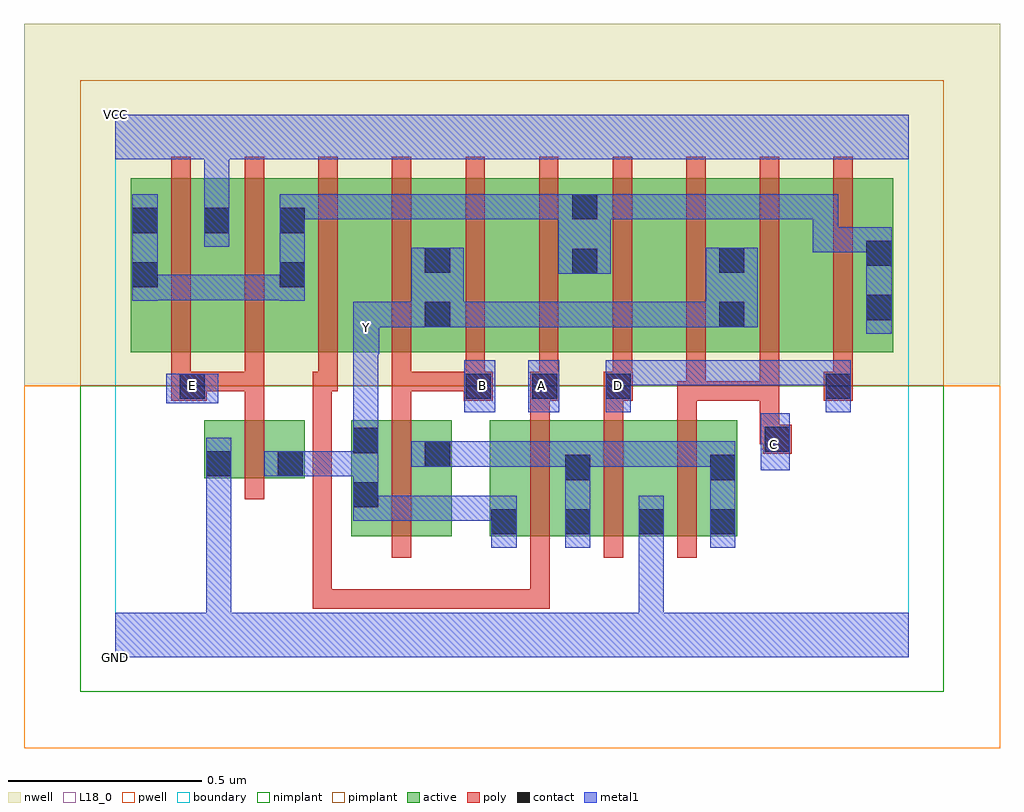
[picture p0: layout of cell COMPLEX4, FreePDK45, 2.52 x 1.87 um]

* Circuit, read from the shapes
.subckt COMPLEX4 A B C D E GND VCC Y
M1 Y E GND VSUBS nfet w=0.15u l=0.05u
M2 n1 B Y VSUBS nfet w=0.3u l=0.05u
M3 n1 A Y VSUBS nfet w=0.3u l=0.05u
M4 GND D n1 VSUBS nfet w=0.3u l=0.05u
M5 n1 C GND VSUBS nfet w=0.3u l=0.05u
M6 VCC E n2 n3 pfet w=0.45u l=0.05u m=2
M7 n4 A n2 n3 pfet w=0.45u l=0.05u
M8 Y B n4 n3 pfet w=0.45u l=0.05u
M9 n5 B Y n3 pfet w=0.45u l=0.05u
M10 n2 A n5 n3 pfet w=0.45u l=0.05u
M11 n6 D n2 n3 pfet w=0.45u l=0.05u
M12 Y C n6 n3 pfet w=0.45u l=0.05u
M13 n7 C Y n3 pfet w=0.45u l=0.05u
M14 n2 D n7 n3 pfet w=0.45u l=0.05u
.ends

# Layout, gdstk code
import gdstk
lib = gdstk.Library(unit=1e-6, precision=1e-09)
def R(c, l, rs):  # rectangles x0, y0, x1, y1
    for r in rs: c.add(gdstk.rectangle(r[:2], r[2:], *l))
def A(c, l, x, y, w, h, nx, ny, dx, dy):  # array of equal rectangles
    R(c, l, [(x+i*dx, y+j*dy, x+i*dx+w, y+j*dy+h) for i in range(nx) for j in range(ny)])
active = (1, 0)
pwell = (2, 0)
nwell = (3, 0)
nimplant = (4, 0)
pimplant = (5, 0)
poly = (9, 0)
contact = (10, 0)
metal1 = (11, 0)
L18_0 = (18, 0)
boundary = (235, 0)

complex4 = lib.new_cell('COMPLEX4')
A(complex4, active, 0.645, 0.787, 0.225, 0.45, 4, 1, 0.38, 0)
A(complex4, active, 0.795, 0.787, 0.23, 0.45, 3, 1, 0.38, 0)
R(complex4, active, [(0.61,0.312,0.685,0.612), (0.61,0.312,0.87,0.612), (0.967,0.312,1.042,0.612), (0.967,0.312,1.232,0.612), (1.157,0.312,1.422,0.612), (1.157,0.312,1.232,0.527), (1.347,0.312,1.607,0.612), (1.347,0.312,1.422,0.392), (1.532,0.312,1.607,0.612), (0.795,0.345,0.87,0.612), (0.23,0.462,0.305,0.612), (0.23,0.462,0.49,0.612), (0.415,0.462,0.49,0.612), (0.04,0.787,0.115,1.2), (0.04,0.787,0.3,1.237), (0.225,0.787,0.495,1.237), (0.42,0.787,0.645,1.237), (0.795,0.787,0.87,1.07), (1.555,0.787,1.63,1.07), (1.935,0.787,2.01,1.2), (0.225,0.857,0.3,1.205), (0.42,0.857,0.495,1.2), (1.175,0.857,1.25,1.2)])
R(complex4, pwell, [(-0.235,-0.235,2.285,0.7)])
R(complex4, nwell, [(-0.235,0.7,2.285,1.635)])
R(complex4, nimplant, [(-0.09,-0.09,2.14,0.7)])
R(complex4, pimplant, [(-0.09,0.7,2.14,1.49)])
A(complex4, poly, 1.072, 0.257, 0.05, 0.41, 3, 1, 0.19, 0)
A(complex4, poly, 1.072, 0.617, 0.05, 0.095, 3, 1, 0.19, 0)
A(complex4, poly, 0.145, 0.687, 0.05, 0.095, 7, 1, 0.19, 0)
A(complex4, poly, 0.145, 0.732, 0.05, 0.56, 10, 1, 0.19, 0)
R(complex4, poly, [(0.51,0.125,0.56,0.175), (0.51,0.125,0.765,0.175), (0.51,0.125,0.56,0.737), (0.715,0.125,0.765,0.175), (0.715,0.125,0.765,0.175), (0.715,0.125,0.765,0.175), (0.715,0.125,0.897,0.175), (0.847,0.125,0.897,0.175), (0.847,0.125,0.897,0.175), (0.847,0.125,0.897,0.175), (0.847,0.125,1.122,0.175), (1.072,0.125,1.122,0.175), (1.072,0.125,1.122,0.175), (1.072,0.125,1.122,0.175), (1.072,0.125,1.122,0.307), (0.715,0.257,0.765,0.667), (0.335,0.407,0.385,0.667), (1.672,0.525,1.747,0.6), (1.665,0.55,1.715,0.712), (1.665,0.55,1.722,0.6), (1.672,0.55,1.722,0.6), (0.335,0.617,0.385,0.737), (0.715,0.617,0.765,0.737), (0.145,0.662,0.237,0.737), (0.9,0.662,0.975,0.737), (1.072,0.662,1.147,0.737), (1.262,0.662,1.337,0.737), (1.452,0.662,1.525,0.712), (1.475,0.662,1.525,0.782), (1.475,0.662,1.715,0.712), (1.665,0.662,1.715,0.782), (1.665,0.662,1.715,0.712), (1.665,0.662,1.715,0.712), (1.665,0.662,1.715,0.712), (1.83,0.662,1.905,0.737), (0.187,0.687,0.385,0.737), (0.335,0.687,0.385,0.737), (0.335,0.687,0.385,0.737), (0.335,0.687,0.385,0.737), (0.51,0.687,0.56,0.737), (0.51,0.687,0.56,0.737), (0.51,0.687,0.56,0.737), (0.51,0.687,0.56,0.737), (0.51,0.687,0.56,0.737), (0.51,0.687,0.56,0.737), (0.51,0.687,0.575,0.737), (0.715,0.687,0.765,0.737), (0.715,0.687,0.95,0.737), (0.9,0.687,0.95,0.737), (0.9,0.687,0.95,0.737), (1.855,0.687,1.905,0.782)])
A(complex4, contact, 0.972, 0.317, 0.065, 0.065, 3, 1, 0.19, 0)
R(complex4, contact, [(1.537,0.317,1.602,0.382), (0.615,0.387,0.68,0.452), (1.162,0.457,1.227,0.522), (1.537,0.457,1.602,0.522), (0.235,0.467,0.3,0.532), (0.42,0.467,0.485,0.532), (0.8,0.492,0.865,0.557), (0.615,0.527,0.68,0.592), (1.677,0.53,1.742,0.595), (0.167,0.667,0.232,0.732), (0.905,0.667,0.97,0.732), (1.077,0.667,1.142,0.732), (1.267,0.667,1.332,0.732), (1.835,0.667,1.9,0.732), (0.8,0.852,0.865,0.917), (1.56,0.852,1.625,0.917), (1.94,0.87,2.005,0.935), (0.045,0.955,0.11,1.02), (0.425,0.955,0.49,1.02), (1.18,0.99,1.245,1.055), (0.8,0.992,0.865,1.057), (1.56,0.992,1.625,1.057), (1.94,1.01,2.005,1.075), (0.045,1.095,0.11,1.16), (0.23,1.095,0.295,1.16), (0.425,1.095,0.49,1.16), (1.18,1.13,1.245,1.195)])
R(complex4, metal1, [(0,0,2.05,0.115), (0.235,0.05,0.3,0.115), (0.235,0.05,0.3,0.115), (0.235,0.05,0.3,0.115), (0.235,0.05,0.3,0.115), (0.235,0.05,0.3,0.115), (0.235,0.05,0.3,0.115), (0.235,0.05,0.3,0.497), (1.352,0.05,1.417,0.115), (1.352,0.05,1.417,0.115), (1.352,0.05,1.417,0.115), (1.352,0.05,1.417,0.115), (1.352,0.05,1.417,0.347), (0.972,0.282,1.037,0.417), (1.162,0.282,1.227,0.557), (1.352,0.282,1.417,0.417), (1.537,0.282,1.602,0.557), (0.615,0.352,0.68,0.627), (0.615,0.352,0.68,0.417), (0.615,0.352,0.68,0.417), (0.615,0.352,0.83,0.417), (0.765,0.352,0.83,0.417), (0.765,0.352,0.83,0.417), (0.765,0.352,0.83,0.417), (0.765,0.352,0.967,0.417), (0.902,0.352,0.967,0.417), (0.902,0.352,1.037,0.417), (0.235,0.432,0.3,0.567), (0.385,0.467,0.52,0.532), (0.455,0.467,0.68,0.532), (0.615,0.467,0.68,0.532), (0.615,0.467,0.68,0.532), (1.667,0.482,1.742,0.63), (0.765,0.492,0.9,0.557), (0.835,0.492,0.995,0.557), (0.93,0.492,0.995,0.557), (0.93,0.492,1.057,0.557), (0.992,0.492,1.057,0.557), (0.992,0.492,1.132,0.557), (1.067,0.492,1.132,0.557), (1.067,0.492,1.227,0.557), (1.162,0.492,1.417,0.557), (1.352,0.492,1.555,0.557), (1.352,0.492,1.417,0.557), (1.352,0.492,1.417,0.557), (1.352,0.492,1.417,0.557), (1.49,0.492,1.555,0.557), (1.49,0.492,1.602,0.557), (0.615,0.562,0.68,0.847), (0.902,0.632,0.982,0.767), (1.067,0.632,1.147,0.767), (1.267,0.632,1.332,0.767), (1.835,0.632,1.9,0.767), (0.132,0.655,0.267,0.732), (1.267,0.702,1.417,0.767), (1.352,0.702,1.555,0.767), (1.352,0.702,1.417,0.767), (1.49,0.702,1.555,0.767), (1.49,0.702,1.555,0.767), (1.49,0.702,1.555,0.767), (1.49,0.702,1.73,0.767), (1.665,0.702,1.73,0.767), (1.665,0.702,1.73,0.767), (1.665,0.702,1.73,0.767), (1.665,0.702,1.9,0.767), (0.615,0.782,0.682,0.917), (1.94,0.835,2.005,1.11), (0.617,0.852,0.83,0.917), (0.765,0.852,0.83,0.917), (0.765,0.852,0.83,0.917), (0.765,0.852,0.83,0.917), (0.765,0.852,0.83,0.917), (0.765,0.852,0.9,1.057), (0.835,0.852,0.995,0.917), (0.93,0.852,0.995,0.917), (0.93,0.852,1.057,0.917), (0.992,0.852,1.195,0.917), (0.992,0.852,1.057,0.917), (1.13,0.852,1.195,0.917), (1.13,0.852,1.195,0.917), (1.13,0.852,1.195,0.917), (1.13,0.852,1.417,0.917), (1.352,0.852,1.417,0.917), (1.352,0.852,1.417,0.917), (1.352,0.852,1.417,0.917), (1.352,0.852,1.59,0.917), (1.525,0.852,1.59,0.917), (1.525,0.852,1.59,0.917), (1.525,0.852,1.66,1.057), (0.045,0.92,0.11,1.195), (0.425,0.92,0.49,1.195), (0.045,0.922,0.11,0.987), (0.045,0.922,0.11,0.987), (0.045,0.922,0.312,0.987), (0.247,0.922,0.312,0.987), (0.247,0.922,0.49,0.987), (0.425,0.922,0.49,0.987), (0.425,0.922,0.49,0.987), (1.145,0.99,1.28,1.195), (1.802,1.045,2.005,1.11), (1.802,1.045,1.867,1.11), (1.802,1.045,1.867,1.11), (1.802,1.045,1.867,1.11), (1.802,1.045,1.867,1.195), (0.23,1.06,0.295,1.195), (0.23,1.13,0.295,1.35), (0.425,1.13,0.692,1.195), (0.627,1.13,0.83,1.195), (0.627,1.13,0.692,1.195), (0.627,1.13,0.692,1.195), (0.627,1.13,0.692,1.195), (0.627,1.13,0.692,1.195), (0.627,1.13,0.692,1.195), (0.765,1.13,0.83,1.195), (0.765,1.13,0.83,1.195), (0.765,1.13,0.83,1.195), (0.765,1.13,0.995,1.195), (0.93,1.13,0.995,1.195), (0.93,1.13,1.037,1.195), (0.972,1.13,1.037,1.195), (0.972,1.13,1.132,1.195), (1.067,1.13,1.132,1.195), (1.067,1.13,1.21,1.195), (1.215,1.13,1.417,1.195), (1.352,1.13,1.417,1.195), (1.352,1.13,1.417,1.195), (1.352,1.13,1.417,1.195), (1.352,1.13,1.592,1.195), (1.527,1.13,1.73,1.195), (1.527,1.13,1.592,1.195), (1.527,1.13,1.592,1.195), (1.527,1.13,1.592,1.195), (1.665,1.13,1.73,1.195), (1.665,1.13,1.867,1.195), (1.802,1.13,1.867,1.195), (0,1.285,2.05,1.4)])
R(complex4, L18_0, [(0,0,2.05,0.115), (0.235,0.05,0.3,0.115), (0.235,0.05,0.3,0.115), (0.235,0.05,0.3,0.115), (0.235,0.05,0.3,0.115), (0.235,0.05,0.3,0.115), (0.235,0.05,0.3,0.115), (0.235,0.05,0.3,0.497), (1.352,0.05,1.417,0.115), (1.352,0.05,1.417,0.115), (1.352,0.05,1.417,0.115), (1.352,0.05,1.417,0.115), (1.352,0.05,1.417,0.347), (0.972,0.282,1.037,0.417), (1.352,0.282,1.417,0.417), (0.615,0.352,0.68,0.417), (0.615,0.352,0.68,0.417), (0.615,0.352,0.68,0.627), (0.615,0.352,0.83,0.417), (0.765,0.352,0.83,0.417), (0.765,0.352,0.83,0.417), (0.765,0.352,0.83,0.417), (0.765,0.352,0.967,0.417), (0.902,0.352,0.967,0.417), (0.902,0.352,1.037,0.417), (0.235,0.432,0.3,0.567), (0.385,0.467,0.52,0.532), (0.455,0.467,0.68,0.532), (0.615,0.467,0.68,0.532), (0.615,0.467,0.68,0.532), (1.667,0.482,1.742,0.63), (1.667,0.517,1.732,0.582), (0.615,0.562,0.68,0.847), (0.902,0.632,0.982,0.767), (1.067,0.632,1.147,0.767), (1.267,0.632,1.332,0.767), (1.835,0.632,1.9,0.767), (0.132,0.655,0.267,0.732), (0.167,0.667,0.232,0.732), (0.917,0.667,0.982,0.732), (1.067,0.667,1.132,0.732), (1.267,0.667,1.332,0.732), (1.267,0.702,1.417,0.767), (1.352,0.702,1.417,0.767), (1.352,0.702,1.555,0.767), (1.49,0.702,1.555,0.767), (1.49,0.702,1.555,0.767), (1.49,0.702,1.555,0.767), (1.49,0.702,1.73,0.767), (1.665,0.702,1.73,0.767), (1.665,0.702,1.73,0.767), (1.665,0.702,1.73,0.767), (1.665,0.702,1.9,0.767), (0.615,0.782,0.682,0.917), (0.617,0.817,0.682,0.882), (0.617,0.852,0.83,0.917), (0.765,0.852,0.83,0.917), (0.765,0.852,0.83,0.917), (0.765,0.852,0.83,0.917), (0.765,0.852,0.83,0.917), (0.765,0.852,0.9,1.057), (0.835,0.852,0.995,0.917), (0.93,0.852,0.995,0.917), (0.93,0.852,1.057,0.917), (0.992,0.852,1.057,0.917), (0.992,0.852,1.195,0.917), (1.13,0.852,1.195,0.917), (1.13,0.852,1.195,0.917), (1.13,0.852,1.195,0.917), (1.13,0.852,1.417,0.917), (1.352,0.852,1.417,0.917), (1.352,0.852,1.417,0.917), (1.352,0.852,1.417,0.917), (1.352,0.852,1.59,0.917), (1.525,0.852,1.59,0.917), (1.525,0.852,1.59,0.917), (1.525,0.852,1.66,1.057), (0.23,1.06,0.295,1.195), (0.23,1.13,0.295,1.35), (0,1.285,2.05,1.4)])
R(complex4, boundary, [(0,0,2.05,1.4)])
complex4.add(gdstk.Label('A', (1.1,0.7), layer=11, texttype=0))
complex4.add(gdstk.Label('B', (0.95,0.7), layer=11, texttype=0))
complex4.add(gdstk.Label('C', (1.7,0.55), layer=11, texttype=0))
complex4.add(gdstk.Label('D', (1.3,0.7), layer=11, texttype=0))
complex4.add(gdstk.Label('E', (0.2,0.7), layer=11, texttype=0))
complex4.add(gdstk.Label('Y', (0.65,0.85), layer=11, texttype=0))
complex4.add(gdstk.Label('VCC', (0,1.4), layer=11, texttype=0))
complex4.add(gdstk.Label('GND', (0,0), layer=11, texttype=0))

lib.write_gds('COMPLEX4.gds')
